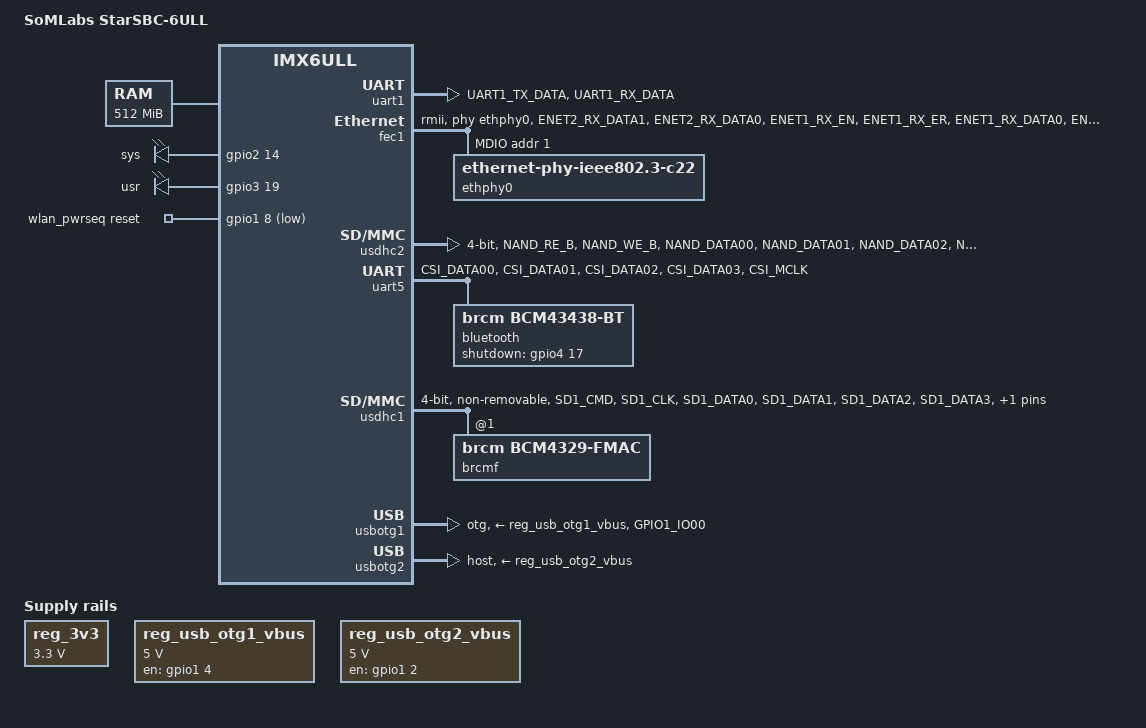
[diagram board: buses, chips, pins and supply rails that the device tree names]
// SPDX-License-Identifier: GPL-2.0-or-later
/*
 * Copyright (C) 2021 SoMLabs
 */

/dts-v1/;

#include <dt-bindings/input/input.h>
#include "imx6ull.dtsi"

/ {
	model = "SoMLabs StarSBC-6ULL";

	compatible = "somlabs,starsbc-6ull", "fsl,imx6ull";

	chosen {
		stdout-path = &uart1;
	};

	memory {
		reg = <0x80000000 0x20000000>;
	};

	reserved-memory {
		#address-cells = <1>;
		#size-cells = <1>;
		ranges;

		linux,cma {
			compatible = "shared-dma-pool";
			reusable;
			size = <0x14000000>;
			linux,cma-default;
		};
	};

	leds {
		compatible = "gpio-leds";

		usr0 {
			label = "sys";
			gpios = <&gpio2 14 GPIO_ACTIVE_HIGH>;
			linux,default-trigger = "heartbeat";
		};

		usr1 {
			label = "usr";
			gpios = <&gpio3 19 GPIO_ACTIVE_HIGH>;
			linux,default-trigger = "mmc1";
		};
	};

	regulators {
		compatible = "simple-bus";
		#address-cells = <1>;
		#size-cells = <0>;

		reg_3v3: regulator@1 {
			compatible = "regulator-fixed";
			regulator-name = "3v3";
			regulator-min-microvolt = <3300000>;
			regulator-max-microvolt = <3300000>;
		};

		reg_usb_otg1_vbus: regulator@2 {
			compatible = "regulator-fixed";
			reg = <2>;
			pinctrl-names = "default";
			pinctrl-0 = <&pinctrl_usb_otg1>;
			regulator-name = "usb_otg1_vbus";
			regulator-min-microvolt = <5000000>;
			regulator-max-microvolt = <5000000>;
			gpios = <&gpio1 4 GPIO_ACTIVE_HIGH>;
			enable-active-high;
		};

		reg_usb_otg2_vbus: regulator@3 {
			compatible = "regulator-fixed";
			reg = <3>;
			pinctrl-names = "default";
			pinctrl-0 = <&pinctrl_usb_otg2>;
			regulator-name = "usb_otg2_vbus";
			regulator-min-microvolt = <5000000>;
			regulator-max-microvolt = <5000000>;
			gpios = <&gpio1 2 GPIO_ACTIVE_HIGH>;
			enable-active-high;
		};
	};

	wlan_pwrseq: wlanpwrseq {
		compatible = "mmc-pwrseq-simple";
		pinctrl-names = "default";
		pinctrl-0 = <&pinctrl_wlan_en>;
		reset-gpios = <&gpio1 8 GPIO_ACTIVE_LOW>;
	};

};

&cpu0 {
	arm-supply = <&reg_arm>;
	soc-supply = <&reg_soc>;
};

&gpc {
	fsl,cpu_pupscr_sw2iso = <0x1>;
	fsl,cpu_pupscr_sw = <0x0>;
	fsl,cpu_pdnscr_iso2sw = <0x1>;
	fsl,cpu_pdnscr_iso = <0x1>;
	fsl,ldo-bypass = <0>; /* DCDC, ldo-enable */
};

&iomuxc {
	pinctrl-names = "default";
	starsbc-6ull {
		pinctrl-0 = <&pinctrl_hog_1>;

		pinctrl_hog_1: hoggrp-1 {
			fsl,pins = <
				MX6UL_PAD_ENET2_TX_CLK__GPIO2_IO14		0x17099 /* LED SYS */
				MX6UL_PAD_LCD_DATA14__GPIO3_IO19		0x17099 /* LED USR */
			>;
		};

		pinctrl_wdog: wdoggrp {
			fsl,pins = <
				MX6UL_PAD_LCD_RESET__WDOG1_WDOG_ANY		0x30b0
			>;
		};

		pinctrl_usb_otg1: usbotg1grp {
			fsl,pins = <
				MX6UL_PAD_GPIO1_IO04__GPIO1_IO04		0x10b0
			>;
		};

		pinctrl_usb_otg1_id: usbotg1idgrp {
			fsl,pins = <
				MX6UL_PAD_GPIO1_IO00__GPIO1_IO00		0x0000
			>;
		};

		pinctrl_usb_otg2: usbotg2grp {
			fsl,pins = <
				MX6UL_PAD_GPIO1_IO02__GPIO1_IO02		0x10b0
			>;
		};

		pinctrl_uart1: uart1grp {
			fsl,pins = <
				MX6UL_PAD_UART1_TX_DATA__UART1_DCE_TX		0x1b0b1
				MX6UL_PAD_UART1_RX_DATA__UART1_DCE_RX		0x1b0b1
			>;
		};

		pinctrl_enet1: enet1grp {
			fsl,pins = <
				MX6UL_PAD_ENET2_RX_DATA1__ENET1_MDC		0x1b0b0
				MX6UL_PAD_ENET2_RX_DATA0__ENET1_MDIO		0x1F829

				MX6UL_PAD_ENET1_RX_EN__ENET1_RX_EN		0x1b0b0
				MX6UL_PAD_ENET1_RX_ER__ENET1_RX_ER		0x1b0b0
				MX6UL_PAD_ENET1_RX_DATA0__ENET1_RDATA00		0x1b0b0
				MX6UL_PAD_ENET1_RX_DATA1__ENET1_RDATA01		0x1b0b0
				MX6UL_PAD_ENET1_TX_EN__ENET1_TX_EN		0x1b0b0
				MX6UL_PAD_ENET1_TX_DATA0__ENET1_TDATA00		0x1b0b0
				MX6UL_PAD_ENET1_TX_DATA1__ENET1_TDATA01		0x1b0b0
				MX6UL_PAD_ENET1_TX_CLK__ENET1_REF_CLK1		0x400010a9
				/* PHY reset pin */
				MX6UL_PAD_ENET2_RX_EN__GPIO2_IO10		0x1b0b0	/* output */
				/* PHY int pin */
				MX6UL_PAD_ENET2_TX_DATA0__GPIO2_IO11	0x1b001 /* input with 100k pullup */
			>;
		};

		pinctrl_usdhc2_8bit: usdhc2grp_8bit {
			fsl,pins = <
				MX6UL_PAD_NAND_RE_B__USDHC2_CLK			0x10069
				MX6UL_PAD_NAND_WE_B__USDHC2_CMD			0x17059
				MX6UL_PAD_NAND_DATA00__USDHC2_DATA0		0x17059
				MX6UL_PAD_NAND_DATA01__USDHC2_DATA1		0x17059
				MX6UL_PAD_NAND_DATA02__USDHC2_DATA2		0x17059
				MX6UL_PAD_NAND_DATA03__USDHC2_DATA3		0x17059
				MX6UL_PAD_NAND_DATA04__USDHC2_DATA4		0x17059
				MX6UL_PAD_NAND_DATA05__USDHC2_DATA5		0x17059
				MX6UL_PAD_NAND_DATA06__USDHC2_DATA6		0x17059
				MX6UL_PAD_NAND_DATA07__USDHC2_DATA7		0x17059
			>;
		};

		pinctrl_usdhc2_8bit_100mhz: usdhc2grp_8bit_100mhz {
			fsl,pins = <
				MX6UL_PAD_NAND_RE_B__USDHC2_CLK			0x100b9
				MX6UL_PAD_NAND_WE_B__USDHC2_CMD			0x170b9
				MX6UL_PAD_NAND_DATA00__USDHC2_DATA0		0x170b9
				MX6UL_PAD_NAND_DATA01__USDHC2_DATA1		0x170b9
				MX6UL_PAD_NAND_DATA02__USDHC2_DATA2		0x170b9
				MX6UL_PAD_NAND_DATA03__USDHC2_DATA3		0x170b9
				MX6UL_PAD_NAND_DATA04__USDHC2_DATA4		0x170b9
				MX6UL_PAD_NAND_DATA05__USDHC2_DATA5		0x170b9
				MX6UL_PAD_NAND_DATA06__USDHC2_DATA6		0x170b9
				MX6UL_PAD_NAND_DATA07__USDHC2_DATA7		0x170b9
			>;
		};

		pinctrl_usdhc2_8bit_200mhz: usdhc2grp_8bit_200mhz {
			fsl,pins = <
				MX6UL_PAD_NAND_RE_B__USDHC2_CLK			0x100f9
				MX6UL_PAD_NAND_WE_B__USDHC2_CMD			0x170f9
				MX6UL_PAD_NAND_DATA00__USDHC2_DATA0		0x170f9
				MX6UL_PAD_NAND_DATA01__USDHC2_DATA1		0x170f9
				MX6UL_PAD_NAND_DATA02__USDHC2_DATA2		0x170f9
				MX6UL_PAD_NAND_DATA03__USDHC2_DATA3		0x170f9
				MX6UL_PAD_NAND_DATA04__USDHC2_DATA4		0x170f9
				MX6UL_PAD_NAND_DATA05__USDHC2_DATA5		0x170f9
				MX6UL_PAD_NAND_DATA06__USDHC2_DATA6		0x170f9
				MX6UL_PAD_NAND_DATA07__USDHC2_DATA7		0x170f9
			>;
		};

		pinctrl_bt_en: btengrp {
			fsl,pins = <
				MX6UL_PAD_CSI_MCLK__GPIO4_IO17			0x17059
			>;
		};

		pinctrl_uart5: uart5grp {	/* bluetooth */
			fsl,pins = <
				MX6UL_PAD_CSI_DATA00__UART5_DCE_TX		0x1b0b1
				MX6UL_PAD_CSI_DATA01__UART5_DCE_RX		0x1b0b1
				MX6UL_PAD_CSI_DATA02__UART5_DCE_RTS		0x1b0b1
				MX6UL_PAD_CSI_DATA03__UART5_DCE_CTS		0x1b0b1
			>;
		};

		pinctrl_usdhc1: usdhc1grp {
			fsl,pins = <
				MX6UL_PAD_SD1_CMD__USDHC1_CMD			0x17059
				MX6UL_PAD_SD1_CLK__USDHC1_CLK			0x10071
				MX6UL_PAD_SD1_DATA0__USDHC1_DATA0		0x17059
				MX6UL_PAD_SD1_DATA1__USDHC1_DATA1		0x17059
				MX6UL_PAD_SD1_DATA2__USDHC1_DATA2		0x17059
				MX6UL_PAD_SD1_DATA3__USDHC1_DATA3		0x17059
				MX6UL_PAD_JTAG_TCK__OSC32K_32K_OUT		0x17099
			>;
		};

		pinctrl_usdhc1_100mhz: usdhc1grp_100mhz {
			fsl,pins = <
				MX6UL_PAD_SD1_CMD__USDHC1_CMD			0x17069
				MX6UL_PAD_SD1_CLK__USDHC1_CLK			0x10069
				MX6UL_PAD_SD1_DATA0__USDHC1_DATA0		0x17069
				MX6UL_PAD_SD1_DATA1__USDHC1_DATA1		0x17069
				MX6UL_PAD_SD1_DATA2__USDHC1_DATA2		0x17069
				MX6UL_PAD_SD1_DATA3__USDHC1_DATA3		0x17069
				MX6UL_PAD_JTAG_TCK__OSC32K_32K_OUT		0x17099
			>;
		};

		pinctrl_usdhc1_200mhz: usdhc1grp_200mhz {
			fsl,pins = <
				MX6UL_PAD_SD1_CMD__USDHC1_CMD			0x170f9
				MX6UL_PAD_SD1_CLK__USDHC1_CLK			0x100f9
				MX6UL_PAD_SD1_DATA0__USDHC1_DATA0		0x170f9
				MX6UL_PAD_SD1_DATA1__USDHC1_DATA1		0x170f9
				MX6UL_PAD_SD1_DATA2__USDHC1_DATA2		0x170f9
				MX6UL_PAD_SD1_DATA3__USDHC1_DATA3		0x170f9
				MX6UL_PAD_JTAG_TCK__OSC32K_32K_OUT		0x17099
			>;
		};

		pinctrl_wlan_en: wlanengrp {
			fsl,pins = <
				MX6UL_PAD_LCD_DATA13__GPIO3_IO18		0x17059
			>;
		};
	};

	visionsbc-6ull-ext {
		/* default pinmux settings for I/O on pin headers */
		pinctrl_ecspi2: ecspi2grp {
			fsl,pins = <
				MX6UL_PAD_UART5_RX_DATA__ECSPI2_MISO	0x10b0
				MX6UL_PAD_UART5_TX_DATA__ECSPI2_MOSI	0x10b0
				MX6UL_PAD_UART4_TX_DATA__ECSPI2_SCLK	0x10b0
				MX6UL_PAD_UART4_RX_DATA__GPIO1_IO29	0x10b0
			>;
		};

		pinctrl_uart2: uart2grp {
			fsl,pins = <
				MX6UL_PAD_UART2_RX_DATA__UART2_DCE_RX		0x1b0b1
				MX6UL_PAD_UART2_TX_DATA__UART2_DCE_TX		0x1b0b1
				MX6UL_PAD_UART2_CTS_B__UART2_DCE_CTS		0x1b0b1
				MX6UL_PAD_UART2_RTS_B__UART2_DCE_RTS		0x1b0b1
			>;
		};

		pinctrl_uart3: uart3grp {
			fsl,pins = <
				MX6UL_PAD_UART3_TX_DATA__UART3_DCE_TX		0x1b0b1
				MX6UL_PAD_UART3_RX_DATA__UART3_DCE_RX		0x1b0b1
				MX6UL_PAD_UART3_CTS_B__UART3_DCE_CTS		0x1b0b1
				MX6UL_PAD_UART3_RTS_B__UART3_DCE_RTS		0x1b0b1
			>;
		};

		pinctrl_uart4: uart4grp {
			fsl,pins = <
				MX6UL_PAD_LCD_CLK__UART4_DCE_TX			0x1b0b1
				MX6UL_PAD_LCD_ENABLE__UART4_DCE_RX		0x1b0b1
			>;
		};
		pinctrl_uart7: uart7grp {
			fsl,pins = <
				MX6UL_PAD_LCD_DATA17__UART7_DCE_RX		0x1b0b1
				MX6UL_PAD_LCD_DATA16__UART7_DCE_TX		0x1b0b1
				MX6UL_PAD_LCD_DATA07__UART7_DCE_RTS		0x1b0b1
				MX6UL_PAD_LCD_DATA06__UART7_DCE_CTS		0x1b0b1
			>;
		};

		pinctrl_uart7_dte: uart7grp-dte {
			fsl,pins = <
				MX6UL_PAD_LCD_DATA17__UART7_DTE_TX		0x1b0b1
				MX6UL_PAD_LCD_DATA16__UART7_DTE_RX		0x1b0b1
				MX6UL_PAD_LCD_DATA07__UART7_DTE_CTS		0x1b0b1
				MX6UL_PAD_LCD_DATA06__UART7_DTE_RTS		0x1b0b1
			>;
		};

		pinctrl_uart8: uart8grp {
			fsl,pins = <
				MX6UL_PAD_ENET2_TX_DATA1__UART8_DCE_TX		0x1b0b1
				MX6UL_PAD_ENET2_TX_EN__UART8_DCE_RX		0x1b0b1
			>;
		};

		pinctrl_i2c3: i2c3grp {
			fsl,pins = <
				MX6UL_PAD_LCD_DATA00__I2C3_SDA			0x4001b8b0
				MX6UL_PAD_LCD_DATA01__I2C3_SCL			0x4001b8b0
			>;
		};

		pinctrl_i2c4: i2c4grp {
			fsl,pins = <
				MX6UL_PAD_LCD_DATA02__I2C4_SDA			0x4001b8b0
				MX6UL_PAD_LCD_DATA03__I2C4_SCL			0x4001b8b0
			>;
		};

		pinctrl_flexcan1: flexcan1grp {
			fsl,pins = <
				MX6UL_PAD_LCD_DATA08__FLEXCAN1_TX		0x1b020
				MX6UL_PAD_LCD_DATA09__FLEXCAN1_RX		0x1b020
			>;
		};

		pinctrl_flexcan2: flexcan2grp {
			fsl,pins = <
				MX6UL_PAD_LCD_DATA10__FLEXCAN2_TX		0x1b020
				MX6UL_PAD_LCD_DATA11__FLEXCAN2_RX		0x1b020
			>;
		};

		pinctrl_pwm5: pwm5grp {
			fsl,pins = <
				MX6UL_PAD_LCD_DATA18__PWM5_OUT			0x17099
			>;
		};

		pinctrl_pwm6: pwm6grp {
			fsl,pins = <
				MX6UL_PAD_LCD_DATA19__PWM6_OUT			0x17099
			>;
		};

		pinctrl_mqs: mqsgrp {
			fsl,pins = <
				MX6UL_PAD_LCD_DATA22__MQS_RIGHT			0x120b0
				MX6UL_PAD_LCD_DATA23__MQS_LEFT			0x120b0
			>;
		};


	};
};

&uart1 {
	pinctrl-names = "default";
	pinctrl-0 = <&pinctrl_uart1>;
	status = "okay";
};

&wdog1 {
	pinctrl-names = "default";
	pinctrl-0 = <&pinctrl_wdog>;
	fsl,wdog_b;
};

&fec1 {
	pinctrl-names = "default";
	pinctrl-0 = <&pinctrl_enet1>;
	phy-mode = "rmii";
	phy-handle = <&ethphy0>;
	status = "okay";

	mdio {
		#address-cells = <1>;
		#size-cells = <0>;

		ethphy0: ethernet-phy@1 {
			compatible = "ethernet-phy-ieee802.3-c22";
			reg = <1>;
			clocks = <&clks IMX6UL_CLK_ENET_REF>;
			clock-names = "rmii-ref";
		};
	};
};

/*
   By default we configure here for sd card, but pinmux is set for 8-bit interface
   In case eMMC is detected as boot source, u-boot will
   modify 'bus-width' and delete 'no-1-8-v' properties
*/
&usdhc2 {
	pinctrl-names = "default", "state_100mhz", "state_200mhz";
	pinctrl-0 = <&pinctrl_usdhc2_8bit>;
	pinctrl-1 = <&pinctrl_usdhc2_8bit_100mhz>;
	pinctrl-2 = <&pinctrl_usdhc2_8bit_200mhz>;
	bus-width = <4>;
	no-1-8-v;
	status = "okay";
};

/* bluetooth */
&uart5 {
	pinctrl-names = "default";
	pinctrl-0 = <&pinctrl_uart5 &pinctrl_bt_en>;
	fsl,uart-has-rtscts;
	dma-names = "", "";
	status = "okay";

	bluetooth {
		shutdown-gpios = <&gpio4 17 GPIO_ACTIVE_HIGH>;
		compatible = "brcm,bcm43438-bt";
		max-speed = <3000000>;
	};
};

/* wlan */
&usdhc1 {
	#address-cells = <1>;
	#size-cells = <0>;
	pinctrl-names = "default", "state_100mhz", "state_200mhz";
	pinctrl-0 = <&pinctrl_usdhc1>;
	pinctrl-1 = <&pinctrl_usdhc1_100mhz>;
	pinctrl-2 = <&pinctrl_usdhc1_200mhz>;
	bus-width = <4>;
	pm-ignore-notify;
	keep-power-in-suspend;
	non-removable;
	status = "okay";
	cap-power-off-card;
	mmc-pwrseq = <&wlan_pwrseq>;

	brcmf: bcrmf@1 {
		reg = <1>;
		compatible = "brcm,bcm4329-fmac";
	};
};

&usbotg1 {
	vbus-supply = <&reg_usb_otg1_vbus>;
	pinctrl-names = "default";
	pinctrl-0 = <&pinctrl_usb_otg1_id>;
	dr_mode = "otg";
	status = "okay";
};

&usbotg2 {
	vbus-supply = <&reg_usb_otg2_vbus>;
	dr_mode = "host";
	status = "okay";
};

&usbphy1 {
	tx-d-cal = <0x5>;
};

&usbphy2 {
	tx-d-cal = <0x5>;
};

/***************************************************************/
/* peripherals on pin headers, default configuration, disabled */
/***************************************************************/

&uart2 {
	pinctrl-names = "default";
	pinctrl-0 = <&pinctrl_uart2>;
	uart-has-rtscts;
	status = "disabled";
};

&uart3 {
	pinctrl-names = "default";
	pinctrl-0 = <&pinctrl_uart3>;
	uart-has-rtscts;
	status = "disabled";
};

&uart4 {
	pinctrl-names = "default";
	pinctrl-0 = <&pinctrl_uart4>;
	status = "disabled";
};

&uart7 {
	pinctrl-names = "default";
	pinctrl-0 = <&pinctrl_uart7_dte>;
	uart-has-rtscts;
	fsl,dte-mode;
	status = "disabled";
};

&uart8 {
	pinctrl-names = "default";
	pinctrl-0 = <&pinctrl_uart8>;
	status = "disabled";
};

&ecspi2 {
	pinctrl-names = "default";
	pinctrl-0 = <&pinctrl_ecspi2>;
	cs-gpios = <&gpio1 29 GPIO_ACTIVE_LOW>;
	status = "disabled";
};

&can1 {
	pinctrl-names = "default";
	pinctrl-0 = <&pinctrl_flexcan1>;
	xceiver-supply = <&reg_3v3>;
	status = "disabled";
};

&can2 {
	pinctrl-names = "default";
	pinctrl-0 = <&pinctrl_flexcan2>;
	xceiver-supply = <&reg_3v3>;
	status = "disabled";
};

&i2c3 {
	clock_frequency = <100000>;
	pinctrl-names = "default";
	pinctrl-0 = <&pinctrl_i2c3>;
	status = "disabled";
};

&i2c4 {
	clock_frequency = <100000>;
	pinctrl-names = "default";
	pinctrl-0 = <&pinctrl_i2c4>;
	status = "disabled";
};

/***************************************************************/
